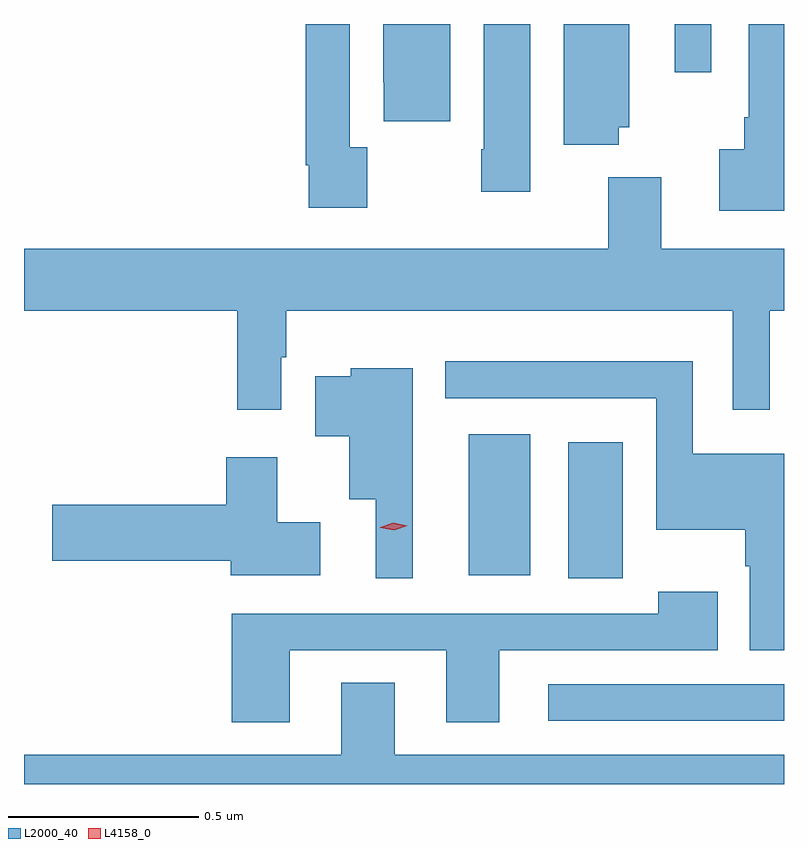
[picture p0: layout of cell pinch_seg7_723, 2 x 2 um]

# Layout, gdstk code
import gdstk
lib = gdstk.Library(unit=1e-6, precision=1e-09)
def R(c, l, rs):  # rectangles x0, y0, x1, y1
    for r in rs: c.add(gdstk.rectangle(r[:2], r[2:], *l))
def P(c, l, *ps):  # polygons
    for p in ps: c.add(gdstk.Polygon(p, *l))
L2000_40 = (2000, 40)
L4158_0 = (4158, 0)

pinch_seg7_723 = lib.new_cell('pinch_seg7_723')
R(pinch_seg7_723, L2000_40, [(339.357,1035.501,339.978,1035.597), (339.41,1035.876,339.553,1036.234), (339.149,1035.884,339.31,1036.255), (339.69,1037.208,339.786,1037.335)])
P(pinch_seg7_723, L2000_40, [(338.881,1037.011),(338.835,1037.011),(338.835,1037.335),(338.719,1037.335),(338.719,1036.963),(338.727,1036.963),(338.727,1036.851),(338.881,1036.851)],
  [(339.1,1037.335),(338.924,1037.335),(338.924,1037.182),(338.925,1037.182),(338.925,1037.079),(339.1,1037.079)],
  [(339.978,1037.335),(339.885,1037.335),(339.885,1037.089),(339.873,1037.089),(339.873,1037.006),(339.807,1037.006),(339.807,1036.844),(339.978,1036.844)],
  [(339.543,1037.063),(339.571,1037.063),(339.571,1037.335),(339.398,1037.335),(339.398,1037.017),(339.543,1037.017)],
  [(339.31,1037.335),(339.188,1037.335),(339.188,1037.005),(339.181,1037.005),(339.181,1036.893),(339.31,1036.893)],
  [(338.655,1036.458),(338.668,1036.458),(338.668,1036.58),(339.843,1036.58),(339.843,1036.32),(339.94,1036.32),(339.94,1036.58),(339.978,1036.58),(339.978,1036.744),(339.655,1036.744),(339.655,1036.932),(339.515,1036.932),(339.515,1036.744),(337.978,1036.744),(337.978,1036.58),(338.539,1036.58),(338.539,1036.32),(338.655,1036.32)],
  [(339.978,1036.204),(339.738,1036.204),(339.738,1036.447),(339.086,1036.447),(339.086,1036.35),(339.642,1036.35),(339.642,1036.004),(339.876,1036.004),(339.876,1035.908),(339.888,1035.908),(339.888,1035.687),(339.978,1035.687)],
  [(339.001,1036.429),(338.838,1036.429),(338.838,1036.408),(338.744,1036.408),(338.744,1036.25),(338.834,1036.25),(338.834,1036.085),(338.903,1036.085),(338.903,1035.876),(339.001,1035.876)],
  [(338.758,1036.024),(338.644,1036.024),(338.644,1036.195),(338.51,1036.195),(338.51,1036.07),(338.052,1036.07),(338.052,1035.923),(338.522,1035.923),(338.522,1035.884),(338.758,1035.884)],
  [(338.677,1035.687),(339.089,1035.687),(339.089,1035.498),(339.229,1035.498),(339.229,1035.687),(339.803,1035.687),(339.803,1035.841),(339.647,1035.841),(339.647,1035.783),(338.525,1035.783),(338.525,1035.498),(338.677,1035.498)],
  [(339.978,1035.412),(338.953,1035.412),(338.953,1035.602),(338.813,1035.602),(338.813,1035.412),(337.978,1035.412),(337.978,1035.335),(339.978,1035.335)])
P(pinch_seg7_723, L4158_0, [(338.952,1036.003),(338.916,1036.01),(338.916,1036.011),(338.916,1036.011),(338.95,1036.023),(338.986,1036.015),(338.986,1036.015),(338.986,1036.015)])

lib.write_gds('pinch_seg7_723.gds')
